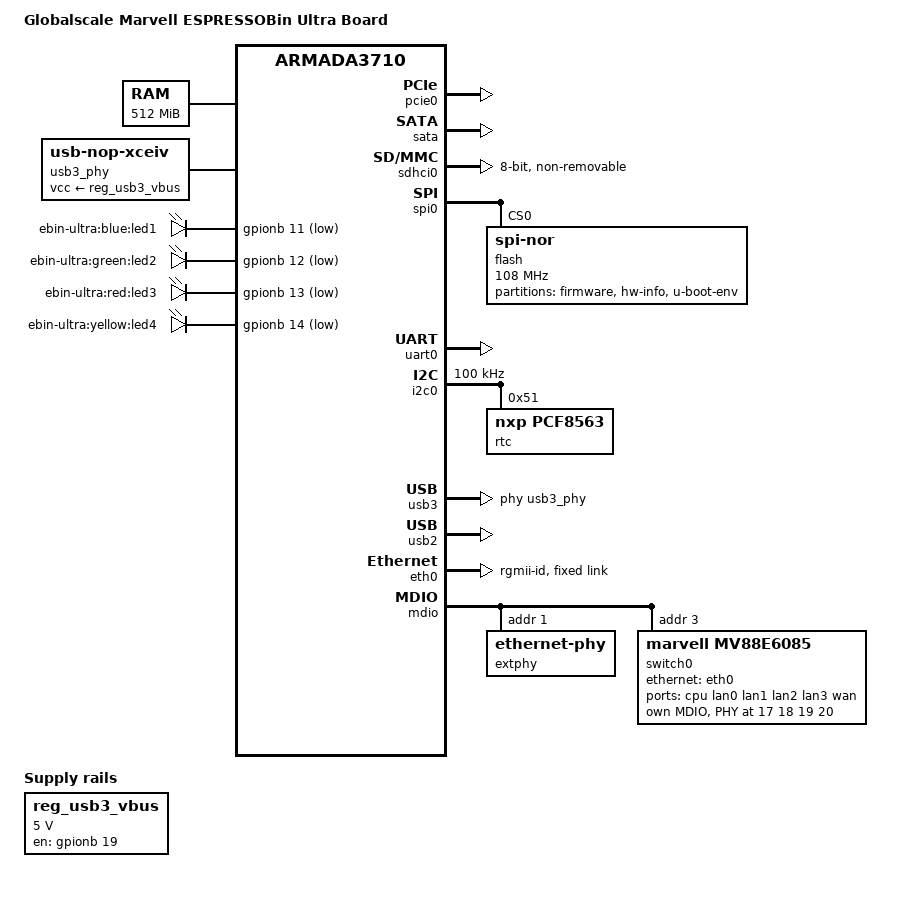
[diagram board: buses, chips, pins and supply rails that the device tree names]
// SPDX-License-Identifier: (GPL-2.0+ OR MIT)
/*
 * Device Tree file for ESPRESSObin-Ultra
 * Copyright (C) 2019 Globalscale technologies, Inc.
 *
 * Jason Hung <jhung@globalscaletechnologies.com>
 */

/dts-v1/;

#include <dt-bindings/gpio/gpio.h>
#include "armada-372x.dtsi"

/ {
	model = "Globalscale Marvell ESPRESSOBin Ultra Board";
	compatible = "globalscale,espressobin-ultra", "marvell,armada3720",
		     "marvell,armada3710";

	aliases {
		/* for dsa slave device */
		ethernet1 = &switch0port1;
		ethernet2 = &switch0port2;
		ethernet3 = &switch0port3;
		ethernet4 = &switch0port4;
		ethernet5 = &switch0port5;
	};

	chosen {
		stdout-path = "serial0:115200n8";
	};

	memory@0 {
		device_type = "memory";
		reg = <0x00000000 0x00000000 0x00000000 0x20000000>;
	};

	reg_usb3_vbus: usb3-vbus {
		compatible = "regulator-fixed";
		regulator-name = "usb3-vbus";
		regulator-min-microvolt = <5000000>;
		regulator-max-microvolt = <5000000>;
		enable-active-high;
		gpio = <&gpionb 19 GPIO_ACTIVE_HIGH>;
	};

	usb3_phy: usb3-phy {
		compatible = "usb-nop-xceiv";
		vcc-supply = <&reg_usb3_vbus>;
	};

	leds {
		pinctrl-names = "default";
		compatible = "gpio-leds";
		/* No assigned functions to the LEDs by default */
		led1 {
			label = "ebin-ultra:blue:led1";
			gpios = <&gpionb 11 GPIO_ACTIVE_LOW>;
		};
		led2 {
			label = "ebin-ultra:green:led2";
			gpios = <&gpionb 12 GPIO_ACTIVE_LOW>;
		};
		led3 {
			label = "ebin-ultra:red:led3";
			gpios = <&gpionb 13 GPIO_ACTIVE_LOW>;
		};
		led4 {
			label = "ebin-ultra:yellow:led4";
			gpios = <&gpionb 14 GPIO_ACTIVE_LOW>;
		};
	};
};

&pcie0 {
	status = "okay";
};

&sata {
	status = "okay";
};

&sdhci0 {
	status = "okay";
	non-removable;
	bus-width = <8>;
	mmc-ddr-1_8v;
	mmc-hs400-1_8v;
	marvell,pad-type = "fixed-1-8v";
};

&spi0 {
	status = "okay";
	pinctrl-names = "default";
	pinctrl-0 = <&spi_quad_pins>;

	flash@0 {
		compatible = "jedec,spi-nor";
		reg = <0>;
		spi-max-frequency = <108000000>;
		spi-rx-bus-width = <4>;
		spi-tx-bus-width = <4>;
		m25p,fast-read;

		partitions {
			compatible = "fixed-partitions";
			#address-cells = <1>;
			#size-cells = <1>;

			partition@0 {
				label = "firmware";
				reg = <0x0 0x3e0000>;
			};
			partition@3e0000 {
				label = "hw-info";
				reg = <0x3e0000 0x10000>;
				read-only;
			};
			partition@3f0000 {
				label = "u-boot-env";
				reg = <0x3f0000 0x10000>;
			};
		};
	};
};

&uart0 {
	status = "okay";
	pinctrl-names = "default";
	pinctrl-0 = <&uart1_pins>;
};

&i2c0 {
	status = "okay";
	pinctrl-names = "default";
	pinctrl-0 = <&i2c1_pins>;

	clock-frequency = <100000>;

	rtc@51 {
		compatible = "nxp,pcf8563";
		reg = <0x51>;
	};
};

&usb3 {
	status = "okay";
	usb-phy = <&usb3_phy>;
};

&usb2 {
	status = "okay";
};

&eth0 {
	status = "okay";
	pinctrl-names = "default";
	pinctrl-0 = <&rgmii_pins>;
	phy-mode = "rgmii-id";

	fixed-link {
		speed = <1000>;
		full-duplex;
	};
};

&mdio {
	status = "okay";

	extphy: ethernet-phy@0 {
		reg = <1>;
	};

	switch0: switch0@1 {
		compatible = "marvell,mv88e6085";
		#address-cells = <1>;
		#size-cells = <0>;
		reg = <3>;

		dsa,member = <0 0>;

		ports {
			#address-cells = <1>;
			#size-cells = <0>;

			switch0port0: port@0 {
				reg = <0>;
				label = "cpu";
				ethernet = <&eth0>;
			};

			switch0port1: port@1 {
				reg = <1>;
				label = "lan0";
				phy-handle = <&switch0phy1>;
			};

			switch0port2: port@2 {
				reg = <2>;
				label = "lan1";
				phy-handle = <&switch0phy2>;
			};

			switch0port3: port@3 {
				reg = <3>;
				label = "lan2";
				phy-handle = <&switch0phy3>;
			};

			switch0port4: port@4 {
				reg = <4>;
				label = "lan3";
				phy-handle = <&switch0phy4>;
			};

			switch0port5: port@5 {
				reg = <5>;
				label = "wan";
				phy-handle = <&extphy>;
				phy-mode = "sgmii";
			};
		};

		mdio {
			#address-cells = <1>;
			#size-cells = <0>;

			switch0phy1: switch0phy1@11 {
				reg = <0x11>;
			};
			switch0phy2: switch0phy2@12 {
				reg = <0x12>;
			};
			switch0phy3: switch0phy3@13 {
				reg = <0x13>;
			};
			switch0phy4: switch0phy4@14 {
				reg = <0x14>;
			};
		};
	};
};
